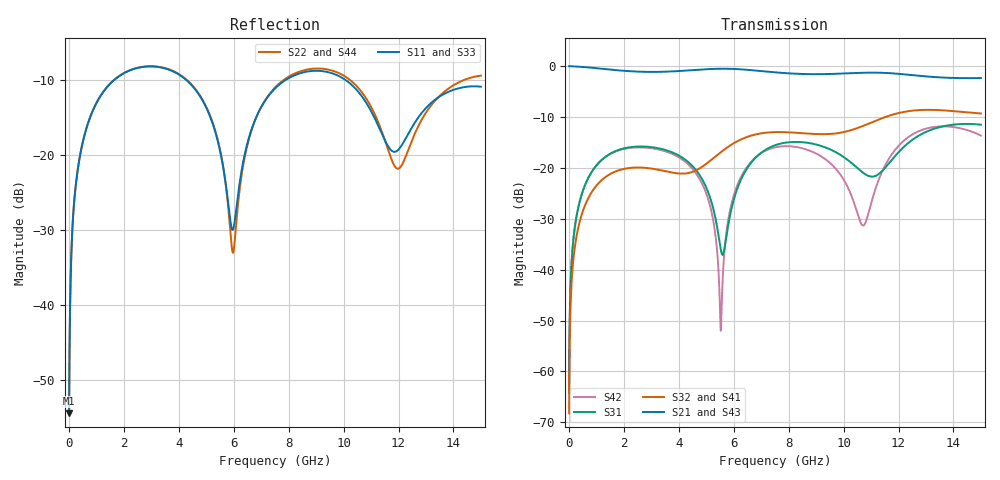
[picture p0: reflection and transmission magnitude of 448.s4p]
! Created with skrf 1.8.0 (http://scikit-rf.org).
# GHz S RI R 50.0
!freq ReS11 ImS11 ReS12 ImS12 ReS13 ImS13
! ReS14 ImS14
! ReS21 ImS21 ReS22 ImS22 ReS23 ImS23
! ReS24 ImS24
! ReS31 ImS31 ReS32 ImS32 ReS33 ImS33
! ReS34 ImS34
! ReS41 ImS41 ReS42 ImS42 ReS43 ImS43
! ReS44 ImS44
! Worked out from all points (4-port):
!   2499 points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, 5 MHz to 15 GHz, reference 50 ohm
!   strongest paths, dB at 5 MHz, 3.476 GHz, 7.19 GHz, 11.1 GHz, 15 GHz:
!     S21: 0.0, -1.1, -1.1, -1.3, -2.3
!     S43: 0.0, -1.1, -1.1, -1.3, -2.3
!     S32: -68.2, -20.6, -13.1, -10.9, -9.3
!     S41: -68.2, -20.6, -13.1, -10.9, -9.3
!     S31: -64.2, -16.4, -16.3, -21.7, -11.5
!     S42: -64.2, -16.7, -16.5, -25.2, -13.7
!   lowest |S11| = -54.5 dB at 5 MHz (marker M1), VSWR 1.00, Z = 50.2 + j0.115 ohm
!   |S11| at or under -10 dB: start of sweep to 1.634 GHz; 4.283 GHz to 7.875 GHz (3.591 GHz wide, 59.1 % of centre); 10.09 GHz to end of sweep
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0.005  0.00151 0.00114  0.9985 -0.00293  7.58e-05 0.000611  -7.35e-05 -0.000381
       0.9985 -0.00293  0.00151 0.00114  -7.35e-05 -0.000381  7.57e-05 0.000611
       7.58e-05 0.000611  -7.35e-05 -0.000381  0.00151 0.00114  0.9985 -0.00293
       -7.35e-05 -0.000381  7.57e-05 0.000611  0.9985 -0.00293  0.00151 0.00114
0.3126303  0.0208 0.0757  0.9716 -0.183  0.00979 0.0366  -0.00799 -0.0227
           0.9716 -0.183  0.0209 0.0757  -0.008 -0.0227  0.00944 0.0367
           0.00979 0.0366  -0.008 -0.0227  0.0208 0.0757  0.9716 -0.183
           -0.00799 -0.0227  0.00944 0.0367  0.9716 -0.183  0.0209 0.0757
1.519383  0.2369 0.1879  0.6161 -0.6871  0.1205 0.0688  -0.0858 -0.0171
          0.6161 -0.6871  0.2383 0.1871  -0.0859 -0.017  0.1158 0.0741
          0.1205 0.0688  -0.0859 -0.017  0.2369 0.1879  0.6161 -0.6871
          -0.0858 -0.0171  0.1158 0.0741  0.6161 -0.6871  0.2383 0.1871
5.527303  0.0513 -0.0876  -0.8959 -0.2913  -0.0139 -0.00767  -0.0397 0.1369
          -0.8959 -0.2913  0.043 -0.0932  -0.0395 0.1369  0.0025 0.000174
          -0.0139 -0.00767  -0.0395 0.1369  0.0497 -0.0877  -0.896 -0.291
          -0.0397 0.1369  0.0025 0.000174  -0.896 -0.291  0.0444 -0.0924
6.496457  0.0682 0.0989  -0.8956 0.2083  0.0524 0.0851  0.0616 0.1919
          -0.8956 0.2083  0.0593 0.1005  0.062 0.1921  0.0537 0.0883
          0.0524 0.0851  0.062 0.1921  0.066 0.1004  -0.8954 0.2088
          0.0616 0.1919  0.0537 0.0883  -0.8954 0.2088  0.0621 0.1008
9.297624  0.3608 -0.0332  0.0264 0.834  0.1082 -0.1183  0.2055 -0.0577
          0.0264 0.834  0.3737 -0.0436  0.2061 -0.0595  0.1086 -0.0594
          0.1082 -0.1183  0.2061 -0.0595  0.3635 -0.0287  0.0265 0.8328
          0.2055 -0.0577  0.1086 -0.0594  0.0265 0.8328  0.3765 -0.0485
15  0.2849 -0.0279  0.1765 -0.7427  0.2225 -0.1456  -0.3419 0.00703
    0.1765 -0.7427  0.3389 -0.0193  -0.3426 0.00944  0.2074 -0.0103
    0.2225 -0.1456  -0.3426 0.00944  0.2845 -0.0273  0.1758 -0.7427
    -0.3419 0.00703  0.2074 -0.0103  0.1758 -0.7427  0.3399 -0.0205
